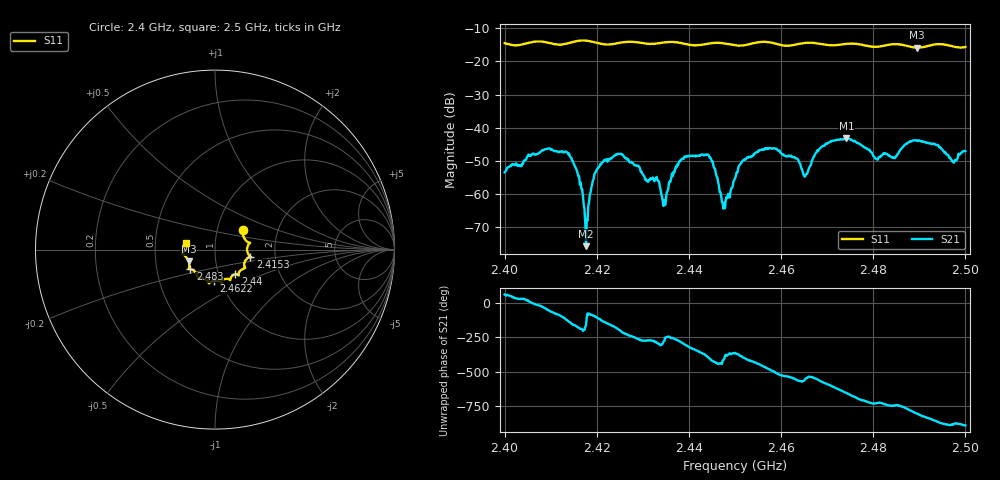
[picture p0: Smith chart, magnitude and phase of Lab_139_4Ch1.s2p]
# Hz S RI R 50
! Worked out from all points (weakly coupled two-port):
!   601 points, 2.4 GHz to 2.5 GHz, reference 50 ohm
!   highest |S21| = -43.17 dB at 2.4742 GHz (marker M1); lowest = -75.7 dB at 2.4177 GHz (marker M2)
!   lowest |S11| = -15.9 dB at 2.4895 GHz (marker M3), VSWR 1.38, Z = 37 - j5 ohm
!   |S11| at or under -10 dB: start of sweep to end of sweep
!   S12 and S22 are empty: the file has one direction only
!   S11 on the Smith chart (normalised r, x): 2.4 GHz: 1.33, +0.29; 2.4153 GHz: 1.48, -0.12; 2.44 GHz: 1.20, -0.34; 2.4622 GHz: 0.93, -0.33; 2.483 GHz: 0.74, -0.17; 2.5 GHz: 0.72, +0.06
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2.4e9  0.1552 0.1066  0.000984 0.00189  0 0  0 0
2.409333e9  0.1895 0.032  0.00324 -0.00356  0 0  0 0
2.415333e9  0.1962 -0.0385  -0.00243 -0.000758  0 0  0 0
2.416667e9  0.2019 -0.0426  -0.00118 0.000151  0 0  0 0
2.417667e9  0.2007 -0.0424  -0.000157 -4.77e-05  0 0  0 0
2.419833e9  0.1863 -0.0448  -0.000388 -0.00215  0 0  0 0
2.424167e9  0.1631 -0.0887  -0.00396 -5.4e-05  0 0  0 0
2.433333e9  0.1312 -0.1336  0.000669 0.00142  0 0  0 0
2.434667e9  0.1305 -0.1421  6.98e-05 0.000814  0 0  0 0
2.44e9  0.114 -0.1369  0.0029 0.00247  0 0  0 0
2.444667e9  0.0847 -0.1672  0.0023 -0.00266  0 0  0 0
2.4475e9  0.0829 -0.1679  0.000358 -0.000485  0 0  0 0
2.45e9  0.0646 -0.1627  0.00172 -6.95e-05  0 0  0 0
2.4555e9  0.0372 -0.192  -5.27e-05 -0.00461  0 0  0 0
2.462167e9  -0.00747 -0.1738  -0.0038 0.000107  0 0  0 0
2.465167e9  -0.0323 -0.1868  -0.00175 0.000525  0 0  0 0
2.466667e9  -0.0342 -0.1877  -0.00317 -4.74e-05  0 0  0 0
2.474167e9  -0.0883 -0.1608  0.00289 0.00631  0 0  0 0
2.483e9  -0.1377 -0.1095  0.00369 -0.0016  0 0  0 0
2.483333e9  -0.1401 -0.1092  0.00342 -0.00162  0 0  0 0
2.4895e9  -0.1463 -0.0659  0.000409 -0.00644  0 0  0 0
2.5e9  -0.1596 0.0392  -0.00437 -0.000613  0 0  0 0
